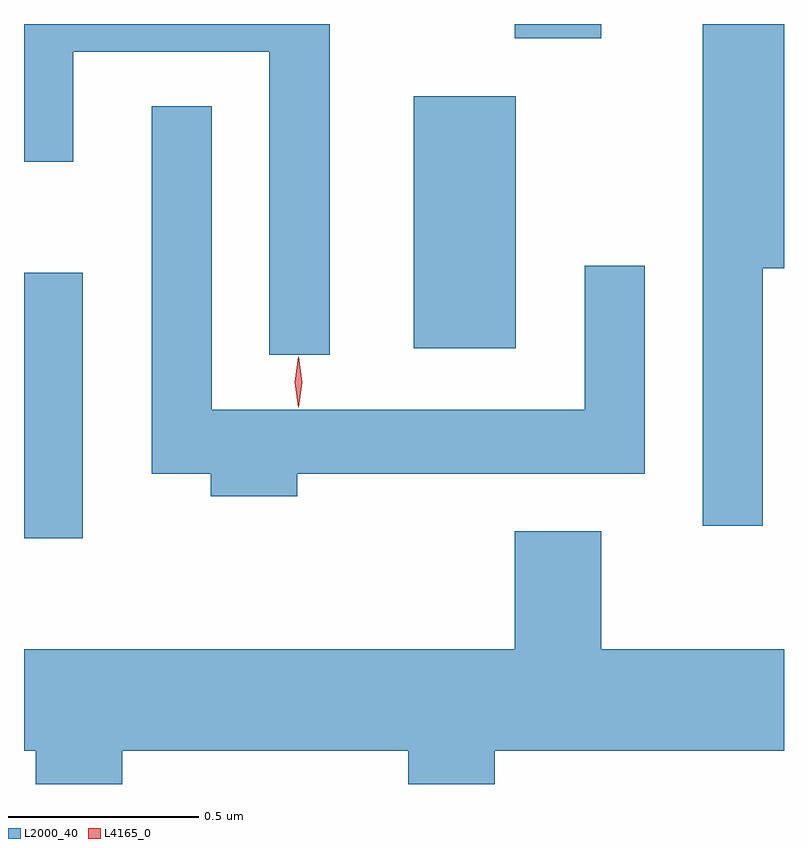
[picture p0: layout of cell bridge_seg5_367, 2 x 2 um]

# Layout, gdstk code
import gdstk
lib = gdstk.Library(unit=1e-6, precision=1e-09)
def R(c, l, rs):  # rectangles x0, y0, x1, y1
    for r in rs: c.add(gdstk.rectangle(r[:2], r[2:], *l))
def P(c, l, *ps):  # polygons
    for p in ps: c.add(gdstk.Polygon(p, *l))
L2000_40 = (2000, 40)
L4165_0 = (4165, 0)

bridge_seg5_367 = lib.new_cell('bridge_seg5_367')
R(bridge_seg5_367, L2000_40, [(751.47,1450.696,751.624,1451.394), (752.496,1451.196,752.764,1451.859), (752.761,1452.011,752.989,1452.049)])
P(bridge_seg5_367, L2000_40, [(752.274,1452.049),(751.47,1452.049),(751.47,1451.686),(751.599,1451.686),(751.599,1451.976),(752.116,1451.976),(752.116,1451.178),(752.274,1451.178)],
  [(753.414,1451.406),(753.47,1451.406),(753.47,1452.049),(753.256,1452.049),(753.256,1450.728),(753.414,1450.728)],
  [(752.189,1450.866),(753.104,1450.866),(753.104,1451.413),(752.946,1451.413),(752.946,1451.034),(751.964,1451.034),(751.964,1451.833),(751.806,1451.833),(751.806,1450.866),(751.961,1450.866),(751.961,1450.806),(752.189,1450.806)],
  [(751.729,1450.136),(752.481,1450.136),(752.481,1450.049),(752.709,1450.049),(752.709,1450.136),(753.47,1450.136),(753.47,1450.404),(752.989,1450.404),(752.989,1450.714),(752.761,1450.714),(752.761,1450.404),(751.47,1450.404),(751.47,1450.136),(751.501,1450.136),(751.501,1450.049),(751.729,1450.049)])
P(bridge_seg5_367, L4165_0, [(752.192,1451.04),(752.192,1451.04),(752.182,1451.106),(752.192,1451.173),(752.192,1451.173),(752.193,1451.173),(752.202,1451.106),(752.193,1451.04)])

lib.write_gds('bridge_seg5_367.gds')
